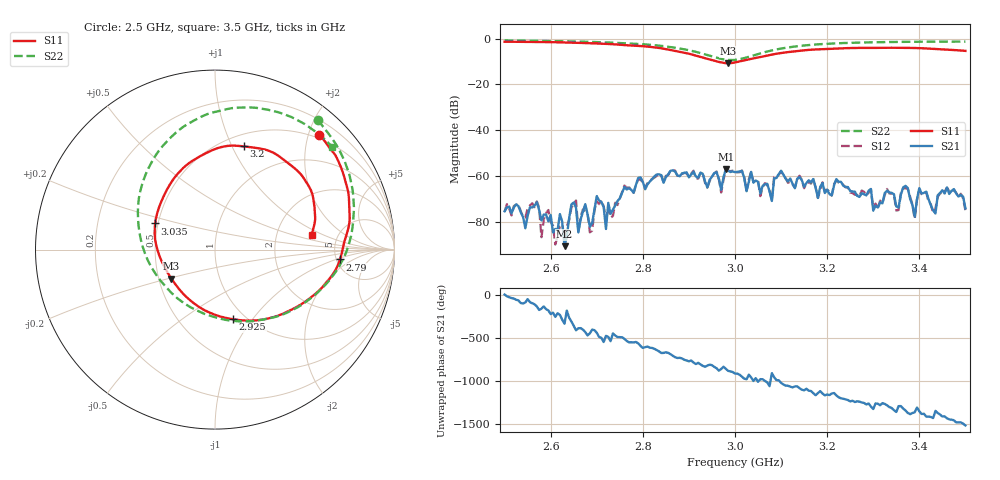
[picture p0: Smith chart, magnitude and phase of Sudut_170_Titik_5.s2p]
# Hz S RI R 50
! CMT, C1220, 16058040, 17.2.0/1
! Date: 15/08/2018 10:25:14
! Data: Format (Calibration Info)
! Freq  S11: Re/Im (F2)  S21: Re/Im (F2)  S12: Re/Im (F2)  S22: Re/Im (F2)
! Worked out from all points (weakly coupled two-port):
!   201 points, 2.5 GHz to 3.5 GHz, reference 50 ohm
!   highest |S21| = -57.09 dB at 2.98 GHz (marker M1); lowest = -90.8 dB at 2.63 GHz (marker M2)
!   lowest |S11| = -10.7 dB at 2.985 GHz (marker M3), VSWR 1.82, Z = 29.1 - j10.2 ohm
!   |S11| at or under -10 dB: 2.962 GHz to 3.008 GHz (45.63 MHz wide, 1.53 % of centre)
!   |S22| runs from -9.3 to -0.7 dB; largest |S21 - S12| = 0.00015
!   S11 on the Smith chart (normalised r, x): 2.5 GHz: 0.44, +2.19; 2.79 GHz: 5.38, -1.16; 2.925 GHz: 0.87, -0.81; 3.035 GHz: 0.48, +0.16; 3.2 GHz: 0.62, +1.11; 3.5 GHz: 3.20, +0.72
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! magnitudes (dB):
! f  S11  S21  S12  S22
! 2.5 GHz  -1.3  -75.5  -75.7  -0.7
! 2.63 GHz  -1.6  -90.8  -87.2  -1.1
! 2.67 GHz  -1.8  -75.7  -74.7  -1.3
! 2.69 GHz  -2.0  -80.6  -84.0  -1.4
! 2.7 GHz  -2.1  -68.8  -71.2  -1.5
! 2.72 GHz  -2.2  -83.3  -78.6  -1.6
! 2.79 GHz  -3.1  -60.9  -61.6  -2.3
! 2.835 GHz  -4.0  -59.3  -59.2  -3.0
! 2.925 GHz  -8.0  -58.6  -59.0  -6.3
! 2.97 GHz  -10.3  -66.1  -67.3  -8.8
! 2.98 GHz  -10.7  -57.1  -57.3  -9.2
! 2.985 GHz  -10.7  -57.7  -57.7  -9.3
! 3 GHz  -10.4  -58.4  -58.3  -9.3
! 3.035 GHz  -8.8  -58.3  -58.3  -7.6
! 3.08 GHz  -6.9  -71.0  -70.7  -5.1
! 3.1 GHz  -6.2  -57.8  -58.0  -4.3
! 3.17 GHz  -4.7  -61.4  -61.4  -2.6
! 3.2 GHz  -4.5  -66.1  -66.0  -2.2
! 3.335 GHz  -3.9  -67.2  -67.7  -1.4
! 3.39 GHz  -4.0  -77.7  -78.8  -1.3
! 3.4 GHz  -4.1  -65.3  -66.1  -1.3
! 3.5 GHz  -5.3  -74.1  -75.0  -1.2
